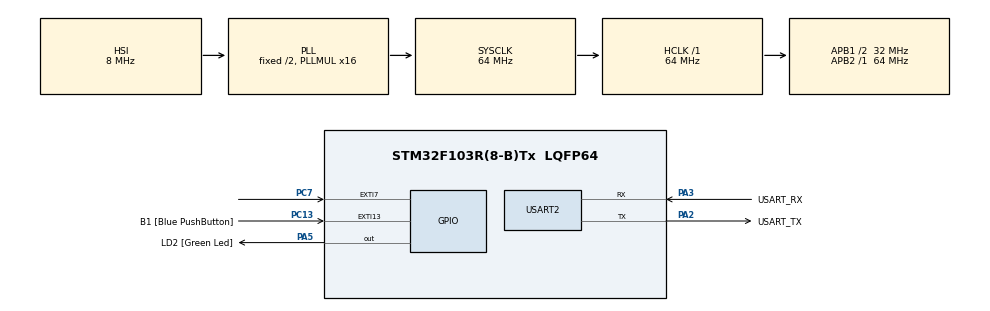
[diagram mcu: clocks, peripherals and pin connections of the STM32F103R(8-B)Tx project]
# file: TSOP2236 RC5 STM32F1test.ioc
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Mcu.Family=STM32F1
PC15-OSC32_OUT.Mode=LSE-External-Oscillator
PA2.GPIO_PuPd=GPIO_NOPULL
PD1-OSC_OUT.Mode=HSE-External-Clock-Source
PA14.GPIO_Label=TCK
PA3.GPIO_PuPd=GPIO_NOPULL
PA2.GPIO_Speed=GPIO_SPEED_FREQ_LOW
PC13-TAMPER-RTC.Signal=GPXTI13
NVIC.TIM1_UP_IRQn=true\:5\:0\:true\:false\:true\:true\:true
PD0-OSC_IN.Signal=RCC_OSC_IN
RCC.APB1CLKDivider=RCC_HCLK_DIV2
PC14-OSC32_IN.Signal=RCC_OSC32_IN
PA3.GPIO_Speed=GPIO_SPEED_FREQ_LOW
RCC.SYSCLKSource=RCC_SYSCLKSOURCE_PLLCLK
ProjectManager.StackSize=0x400
PD1-OSC_OUT.Signal=RCC_OSC_OUT
PA13.Signal=SYS_JTMS-SWDIO
PA3.Mode=Asynchronous
TIM1.Prescaler=64-1
ProjectManager.TargetToolchain=STM32CubeIDE
PA3.GPIO_Mode=GPIO_MODE_AF_PP
RCC.HCLKFreq_Value=64000000
RCC.APB2TimFreq_Value=64000000
PC7.Signal=GPXTI7
RCC.USBFreq_Value=64000000
PC15-OSC32_OUT.Signal=RCC_OSC32_OUT
RCC.AHBFreq_Value=64000000
PD0-OSC_IN.Mode=HSE-External-Clock-Source
NVIC.EXTI15_10_IRQn=true\:15\:0\:true\:false\:true\:true\:true
PA5.Signal=GPIO_Output
NVIC.TIM1_TRG_COM_IRQn=true\:5\:0\:true\:false\:true\:true\:true
board=NUCLEO-F103RB
RCC.RTCClockSelection=RCC_RTCCLKSOURCE_LSE
PC13-TAMPER-RTC.GPIO_Label=B1 [Blue PushButton]
RCC.PLLMUL=RCC_PLL_MUL16
RCC.APB2Freq_Value=64000000
PC14-OSC32_IN.Mode=LSE-External-Oscillator
PA5.GPIO_ModeDefaultOutputPP=GPIO_MODE_OUTPUT_PP
PA14.Mode=Serial_Wire
PA5.GPIO_PuPd=GPIO_NOPULL
PA13.Mode=Serial_Wire
Mcu.Name=STM32F103R(8-B)Tx
VP_TIM1_VS_ClockSourceINT.Mode=Internal
PA2.Signal=USART2_TX
PA13.GPIO_Label=TMS
NVIC.TIM1_CC_IRQn=true\:5\:0\:true\:false\:true\:true\:true
PB3.Signal=SYS_JTDO-TRACESWO
RCC.SYSCLKFreq_VALUE=64000000
PC7.GPIO_ModeDefaultEXTI=GPIO_MODE_IT_FALLING
Mcu.Package=LQFP64
PA5.GPIO_Label=LD2 [Green Led]
USART2.VirtualMode=VM_ASYNC
PC13-TAMPER-RTC.GPIO_PuPd=GPIO_NOPULL
PA2.GPIO_Label=USART_TX
NVIC.EXTI9_5_IRQn=true\:0\:0\:false\:false\:true\:true\:true
PA14.Signal=SYS_JTCK-SWCLK
NVIC.TIM1_BRK_IRQn=true\:5\:0\:true\:false\:true\:true\:true
ProjectManager.HeapSize=0x200
PA5.GPIO_Speed=GPIO_SPEED_FREQ_LOW
NVIC.PriorityGroup=NVIC_PRIORITYGROUP_4
RCC.APB1TimFreq_Value=64000000
PA2.Mode=Asynchronous
TIM1.Period=100
RCC.APB1Freq_Value=32000000
PA3.GPIO_Label=USART_RX
PA3.Signal=USART2_RX
PA2.GPIO_Mode=GPIO_MODE_AF_PP
PB3.GPIO_Label=SWO

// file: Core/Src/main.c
/* USER CODE BEGIN Header */
/**
  ******************************************************************************
  * @file           : main.c
  * @brief          : Main program body
  ******************************************************************************
  * @attention
  *
  * <h2><center>&copy; Copyright (c) 2021 STMicroelectronics.
  * All rights reserved.</center></h2>
  *
  * This software component is licensed by ST under BSD 3-Clause license,
  * the "License"; You may not use this file except in compliance with the
  * License. You may obtain a copy of the License at:
  *                        opensource.org/licenses/BSD-3-Clause
  *
  ******************************************************************************
  */
/* USER CODE END Header */
#include "main.h"
#include "tim.h"
#include "usart.h"
#include "gpio.h"

/* USER CODE BEGIN Includes */
#include "RC5 TSOP2236.h"
#include <stdio.h>
/* USER CODE END Includes */

/* USER CODE BEGIN PV */
RC5Struct TSOP2236;
uint16_t TSOP_NormRecData;
/* USER CODE END PV */

void SystemClock_Config(void);
/* USER CODE BEGIN PFP */
void HAL_GPIO_EXTI_Callback(uint16_t GPIO_Pin)
{
	if(GPIO_Pin==GPIO_PIN_7)
	{
		RC5_IR_EXTI_GPIO_ReceiveAndDecodeFunction(&TSOP2236);
	}
}

void HAL_TIM_PeriodElapsedCallback(TIM_HandleTypeDef *htim)
{
	if(htim->Instance==TIM1)
	{
		RC5_100usTimer();
	}

}
/* USER CODE END PFP */

int main(void)
{

  /* MCU Configuration--------------------------------------------------------*/

  /* Reset of all peripherals, Initializes the Flash interface and the Systick. */
  HAL_Init();

  /* Configure the system clock */
  SystemClock_Config();

  /* Initialize all configured peripherals */
  MX_GPIO_Init();
  MX_USART2_UART_Init();
  MX_TIM1_Init();
  /* USER CODE BEGIN 2 */
  HAL_TIM_Base_Start_IT(&htim1);

  RC5_INIT(&TSOP2236);
  /* USER CODE END 2 */

  /* Infinite loop */
  /* USER CODE BEGIN WHILE */
  while (1)
  {
		RC5_ReadNormal(&TSOP2236, &TSOP_NormRecData);
		char Recval[50];
		int size = sprintf(Recval,"RecVal:0x%x\n\r",TSOP_NormRecData);

		HAL_UART_Transmit(&huart2,(uint8_t*) Recval, size , 100);
		HAL_Delay(100);
    /* USER CODE END WHILE */

  }
}

void SystemClock_Config(void)
{
  RCC_OscInitTypeDef RCC_OscInitStruct = {0};
  RCC_ClkInitTypeDef RCC_ClkInitStruct = {0};

  /** Initializes the RCC Oscillators according to the specified parameters
  * in the RCC_OscInitTypeDef structure.
  */
  RCC_OscInitStruct.OscillatorType = RCC_OSCILLATORTYPE_HSI;
  RCC_OscInitStruct.HSIState = RCC_HSI_ON;
  RCC_OscInitStruct.HSICalibrationValue = RCC_HSICALIBRATION_DEFAULT;
  RCC_OscInitStruct.PLL.PLLState = RCC_PLL_ON;
  RCC_OscInitStruct.PLL.PLLSource = RCC_PLLSOURCE_HSI_DIV2;
  RCC_OscInitStruct.PLL.PLLMUL = RCC_PLL_MUL16;
  if (HAL_RCC_OscConfig(&RCC_OscInitStruct) != HAL_OK)
  {
    Error_Handler();
  }
  /** Initializes the CPU, AHB and APB buses clocks
  */
  RCC_ClkInitStruct.ClockType = RCC_CLOCKTYPE_HCLK|RCC_CLOCKTYPE_SYSCLK
                              |RCC_CLOCKTYPE_PCLK1|RCC_CLOCKTYPE_PCLK2;
  RCC_ClkInitStruct.SYSCLKSource = RCC_SYSCLKSOURCE_PLLCLK;
  RCC_ClkInitStruct.AHBCLKDivider = RCC_SYSCLK_DIV1;
  RCC_ClkInitStruct.APB1CLKDivider = RCC_HCLK_DIV2;
  RCC_ClkInitStruct.APB2CLKDivider = RCC_HCLK_DIV1;

  if (HAL_RCC_ClockConfig(&RCC_ClkInitStruct, FLASH_LATENCY_2) != HAL_OK)
  {
    Error_Handler();
  }
}

void Error_Handler(void)
{
  __disable_irq();
  while (1)
  {
  }
}

/************************ (C) COPYRIGHT STMicroelectronics *****END OF FILE****/
